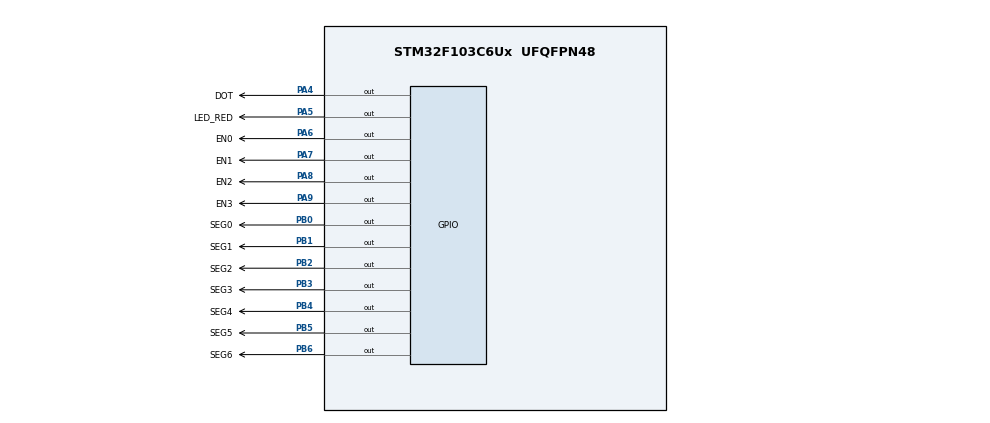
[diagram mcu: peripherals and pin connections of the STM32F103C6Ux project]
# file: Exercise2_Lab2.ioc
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Mcu.Family=STM32F1
Mcu.Name=STM32F103C6Ux
Mcu.Package=UFQFPN48
NVIC.PriorityGroup=NVIC_PRIORITYGROUP_4
NVIC.TIM2_IRQn=true\:0\:0\:false\:false\:true\:true\:true
PA4.GPIO_Label=DOT
PA4.Signal=GPIO_Output
PA5.GPIO_Label=LED_RED
PA5.Signal=GPIO_Output
PA6.GPIO_Label=EN0
PA6.Signal=GPIO_Output
PA7.GPIO_Label=EN1
PA7.Signal=GPIO_Output
PA8.GPIO_Label=EN2
PA8.Signal=GPIO_Output
PA9.GPIO_Label=EN3
PA9.Signal=GPIO_Output
PB0.GPIO_Label=SEG0
PB0.Signal=GPIO_Output
PB1.GPIO_Label=SEG1
PB1.Signal=GPIO_Output
PB2.GPIO_Label=SEG2
PB2.Signal=GPIO_Output
PB3.GPIO_Label=SEG3
PB3.Signal=GPIO_Output
PB4.GPIO_Label=SEG4
PB4.Signal=GPIO_Output
PB5.GPIO_Label=SEG5
PB5.Signal=GPIO_Output
PB6.GPIO_Label=SEG6
PB6.Signal=GPIO_Output
ProjectManager.HeapSize=0x200
ProjectManager.StackSize=0x400
ProjectManager.TargetToolchain=STM32CubeIDE
RCC.APB1Freq_Value=8000000
RCC.APB2Freq_Value=8000000
TIM2.Period=9
TIM2.Prescaler=7999
VP_SYS_VS_ND.Mode=No_Debug
VP_TIM2_VS_ClockSourceINT.Mode=Internal
board=custom

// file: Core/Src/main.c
/* USER CODE BEGIN Header */
/**
  ******************************************************************************
  * @file           : main.c
  * @brief          : Main program body
  ******************************************************************************
  * @attention
  *
  * <h2><center>&copy; Copyright (c) 2025 STMicroelectronics.
  * All rights reserved.</center></h2>
  *
  * This software component is licensed by ST under BSD 3-Clause license,
  * the "License"; You may not use this file except in compliance with the
  * License. You may obtain a copy of the License at:
  *                        opensource.org/licenses/BSD-3-Clause
  *
  ******************************************************************************
  */
/* USER CODE END Header */
#include "main.h"

TIM_HandleTypeDef htim2;

void SystemClock_Config(void);
static void MX_GPIO_Init(void);
static void MX_TIM2_Init(void);

int main(void)
{

  /* MCU Configuration--------------------------------------------------------*/

  /* Reset of all peripherals, Initializes the Flash interface and the Systick. */
  HAL_Init();

  /* Configure the system clock */
  SystemClock_Config();

  /* Initialize all configured peripherals */
  MX_GPIO_Init();
  MX_TIM2_Init();
  /* USER CODE BEGIN 2 */
  HAL_TIM_Base_Start_IT(&htim2);
  /* USER CODE END 2 */

  /* Infinite loop */
  while (1)
  {

  }
}

void SystemClock_Config(void)
{
  RCC_OscInitTypeDef RCC_OscInitStruct = {0};
  RCC_ClkInitTypeDef RCC_ClkInitStruct = {0};

  /** Initializes the RCC Oscillators according to the specified parameters
  * in the RCC_OscInitTypeDef structure.
  */
  RCC_OscInitStruct.OscillatorType = RCC_OSCILLATORTYPE_HSI;
  RCC_OscInitStruct.HSIState = RCC_HSI_ON;
  RCC_OscInitStruct.HSICalibrationValue = RCC_HSICALIBRATION_DEFAULT;
  RCC_OscInitStruct.PLL.PLLState = RCC_PLL_NONE;
  if (HAL_RCC_OscConfig(&RCC_OscInitStruct) != HAL_OK)
  {
    Error_Handler();
  }
  /** Initializes the CPU, AHB and APB buses clocks
  */
  RCC_ClkInitStruct.ClockType = RCC_CLOCKTYPE_HCLK|RCC_CLOCKTYPE_SYSCLK
                              |RCC_CLOCKTYPE_PCLK1|RCC_CLOCKTYPE_PCLK2;
  RCC_ClkInitStruct.SYSCLKSource = RCC_SYSCLKSOURCE_HSI;
  RCC_ClkInitStruct.AHBCLKDivider = RCC_SYSCLK_DIV1;
  RCC_ClkInitStruct.APB1CLKDivider = RCC_HCLK_DIV1;
  RCC_ClkInitStruct.APB2CLKDivider = RCC_HCLK_DIV1;

  if (HAL_RCC_ClockConfig(&RCC_ClkInitStruct, FLASH_LATENCY_0) != HAL_OK)
  {
    Error_Handler();
  }
}

static void MX_TIM2_Init(void)
{

  TIM_ClockConfigTypeDef sClockSourceConfig = {0};
  TIM_MasterConfigTypeDef sMasterConfig = {0};

  htim2.Instance = TIM2;
  htim2.Init.Prescaler = 7999;
  htim2.Init.CounterMode = TIM_COUNTERMODE_UP;
  htim2.Init.Period = 9;
  htim2.Init.ClockDivision = TIM_CLOCKDIVISION_DIV1;
  htim2.Init.AutoReloadPreload = TIM_AUTORELOAD_PRELOAD_DISABLE;
  if (HAL_TIM_Base_Init(&htim2) != HAL_OK)
  {
    Error_Handler();
  }
  sClockSourceConfig.ClockSource = TIM_CLOCKSOURCE_INTERNAL;
  if (HAL_TIM_ConfigClockSource(&htim2, &sClockSourceConfig) != HAL_OK)
  {
    Error_Handler();
  }
  sMasterConfig.MasterOutputTrigger = TIM_TRGO_RESET;
  sMasterConfig.MasterSlaveMode = TIM_MASTERSLAVEMODE_DISABLE;
  if (HAL_TIMEx_MasterConfigSynchronization(&htim2, &sMasterConfig) != HAL_OK)
  {
    Error_Handler();
  }

}

static void MX_GPIO_Init(void)
{
  GPIO_InitTypeDef GPIO_InitStruct = {0};

  /* GPIO Ports Clock Enable */
  __HAL_RCC_GPIOA_CLK_ENABLE();
  __HAL_RCC_GPIOB_CLK_ENABLE();

  /*Configure GPIO pin Output Level */
  HAL_GPIO_WritePin(GPIOA, DOT_Pin|LED_RED_Pin|EN0_Pin|EN1_Pin
                          |EN2_Pin|EN3_Pin, GPIO_PIN_RESET);

  /*Configure GPIO pin Output Level */
  HAL_GPIO_WritePin(GPIOB, SEG0_Pin|SEG1_Pin|SEG2_Pin|SEG3_Pin
                          |SEG4_Pin|SEG5_Pin|SEG6_Pin, GPIO_PIN_RESET);

  /*Configure GPIO pins : DOT_Pin LED_RED_Pin EN0_Pin EN1_Pin
                           EN2_Pin EN3_Pin */
  GPIO_InitStruct.Pin = DOT_Pin|LED_RED_Pin|EN0_Pin|EN1_Pin
                          |EN2_Pin|EN3_Pin;
  GPIO_InitStruct.Mode = GPIO_MODE_OUTPUT_PP;
  GPIO_InitStruct.Pull = GPIO_NOPULL;
  GPIO_InitStruct.Speed = GPIO_SPEED_FREQ_LOW;
  HAL_GPIO_Init(GPIOA, &GPIO_InitStruct);

  /*Configure GPIO pins : SEG0_Pin SEG1_Pin SEG2_Pin SEG3_Pin
                           SEG4_Pin SEG5_Pin SEG6_Pin */
  GPIO_InitStruct.Pin = SEG0_Pin|SEG1_Pin|SEG2_Pin|SEG3_Pin
                          |SEG4_Pin|SEG5_Pin|SEG6_Pin;
  GPIO_InitStruct.Mode = GPIO_MODE_OUTPUT_PP;
  GPIO_InitStruct.Pull = GPIO_NOPULL;
  GPIO_InitStruct.Speed = GPIO_SPEED_FREQ_LOW;
  HAL_GPIO_Init(GPIOB, &GPIO_InitStruct);

}

/* USER CODE BEGIN 4 */
uint8_t led7seg[10] = {
           0xC0, // 0
           0xF9, // 1
           0xA4, // 2
           0xB0, // 3
           0x99, // 4
           0x92, // 5
           0x82, // 6
           0xF8, // 7
           0x80, // 8
           0x90  // 9
       };

   void display7SEG(int num) {
           if (num < 0 || num > 9) return;
           uint8_t pattern = led7seg[num];

           HAL_GPIO_WritePin(SEG0_GPIO_Port, SEG0_Pin, (pattern >> 0) & 0x01);
           HAL_GPIO_WritePin(SEG1_GPIO_Port, SEG1_Pin, (pattern >> 1) & 0x01);
           HAL_GPIO_WritePin(SEG2_GPIO_Port, SEG2_Pin, (pattern >> 2) & 0x01);
           HAL_GPIO_WritePin(SEG3_GPIO_Port, SEG3_Pin, (pattern >> 3) & 0x01);
           HAL_GPIO_WritePin(SEG4_GPIO_Port, SEG4_Pin, (pattern >> 4) & 0x01);
           HAL_GPIO_WritePin(SEG5_GPIO_Port, SEG5_Pin, (pattern >> 5) & 0x01);
           HAL_GPIO_WritePin(SEG6_GPIO_Port, SEG6_Pin, (pattern >> 6) & 0x01);
       }
   int current_digit = 0;
   int counter = 50;
   int dot_counter = 100;

   void HAL_TIM_PeriodElapsedCallback(TIM_HandleTypeDef *htim){
	   if(htim->Instance == TIM2){

		   switch(current_digit){
            	case 0:

            		HAL_GPIO_WritePin(EN1_GPIO_Port, EN1_Pin, GPIO_PIN_SET);
            		HAL_GPIO_WritePin(EN2_GPIO_Port, EN2_Pin, GPIO_PIN_SET);
            		HAL_GPIO_WritePin(EN3_GPIO_Port, EN3_Pin, GPIO_PIN_SET);
            		HAL_GPIO_WritePin(EN0_GPIO_Port, EN0_Pin, GPIO_PIN_RESET);
            		display7SEG(1);
            		break;

            	case 1:

            		HAL_GPIO_WritePin(EN1_GPIO_Port, EN1_Pin, GPIO_PIN_RESET);
            		HAL_GPIO_WritePin(EN0_GPIO_Port, EN0_Pin, GPIO_PIN_SET);
            		HAL_GPIO_WritePin(EN2_GPIO_Port, EN2_Pin, GPIO_PIN_SET);
            		HAL_GPIO_WritePin(EN3_GPIO_Port, EN3_Pin, GPIO_PIN_SET);
            		display7SEG(2);
            		break;

            	case 2:

            		HAL_GPIO_WritePin(EN2_GPIO_Port, EN2_Pin, GPIO_PIN_RESET);
            		HAL_GPIO_WritePin(EN0_GPIO_Port, EN0_Pin, GPIO_PIN_SET);
            		HAL_GPIO_WritePin(EN1_GPIO_Port, EN1_Pin, GPIO_PIN_SET);
            		HAL_GPIO_WritePin(EN3_GPIO_Port, EN3_Pin, GPIO_PIN_SET);
            		display7SEG(3);
            		break;

            	case 3:

            		HAL_GPIO_WritePin(EN3_GPIO_Port, EN3_Pin, GPIO_PIN_RESET);
            		HAL_GPIO_WritePin(EN0_GPIO_Port, EN0_Pin, GPIO_PIN_SET);
            		HAL_GPIO_WritePin(EN1_GPIO_Port, EN1_Pin, GPIO_PIN_SET);
            		HAL_GPIO_WritePin(EN2_GPIO_Port, EN2_Pin, GPIO_PIN_SET);
            		display7SEG(0);
            		break;

            	default:
            		break;
		   }

		   if(--counter <= 0){
			   counter = 50;
			   current_digit = (current_digit + 1) % 4;
		   }

		   if(--dot_counter <= 0){
			   dot_counter = 100;
			   HAL_GPIO_TogglePin(DOT_GPIO_Port, DOT_Pin);
			   HAL_GPIO_TogglePin(LED_RED_GPIO_Port, LED_RED_Pin);
		   }
	   }
}
/* USER CODE END 4 */

void Error_Handler(void)
{
  __disable_irq();
  while (1)
  {
  }
}

/************************ (C) COPYRIGHT STMicroelectronics *****END OF FILE****/
